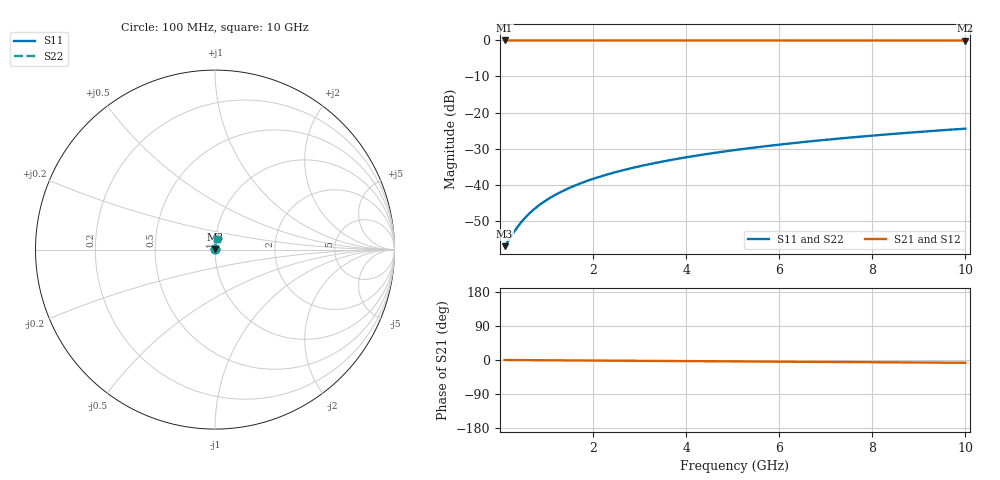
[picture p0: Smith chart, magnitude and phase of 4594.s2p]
# Hz S RI R 50.00
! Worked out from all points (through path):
!   100 points, 100 MHz to 10 GHz, reference 50 ohm
!   highest |S21| = -0.01 dB at 100 MHz (marker M1); lowest = 0.0 dB at 10 GHz (marker M2)
!   group delay of S21, straight-line fit = 2.03 ps
!   lowest |S11| = -57.1 dB at 100 MHz (marker M3), VSWR 1.00, Z = 50.1 + j0.0598 ohm
!   |S11| at or under -10 dB: start of sweep to end of sweep
!   |S22| runs from -57.1 to -24.5 dB; largest |S21 - S12| = 0
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1e8  0.00127 0.000596  0.9987 -0.00127  0.9987 -0.00127  0.00127 0.000596
3e8  0.00129 0.00179  0.9987 -0.00381  0.9987 -0.00381  0.00129 0.00179
4e8  0.0013 0.00238  0.9987 -0.00508  0.9987 -0.00508  0.0013 0.00238
5e8  0.00131 0.00298  0.9987 -0.00635  0.9987 -0.00635  0.00131 0.00298
6e8  0.00132 0.00358  0.9987 -0.00762  0.9987 -0.00762  0.00132 0.00358
7e8  0.00134 0.00417  0.9986 -0.00889  0.9986 -0.00889  0.00134 0.00417
8e8  0.00135 0.00477  0.9986 -0.0102  0.9986 -0.0102  0.00135 0.00477
1e9  0.00138 0.00596  0.9986 -0.0127  0.9986 -0.0127  0.00138 0.00596
1.2e9  0.00142 0.00715  0.9985 -0.0152  0.9985 -0.0152  0.00142 0.00715
1.5e9  0.00149 0.00894  0.9984 -0.0191  0.9984 -0.0191  0.00149 0.00894
1.8e9  0.00157 0.0107  0.9983 -0.0229  0.9983 -0.0229  0.00157 0.0107
2.1e9  0.00166 0.0125  0.9982 -0.0267  0.9982 -0.0267  0.00166 0.0125
2.5e9  0.00181 0.0149  0.998 -0.0318  0.998 -0.0318  0.00181 0.0149
2.9e9  0.00198 0.0173  0.9978 -0.0368  0.9978 -0.0368  0.00198 0.0173
3.4e9  0.00222 0.0202  0.9975 -0.0432  0.9975 -0.0432  0.00222 0.0202
4.2e9  0.00269 0.025  0.9969 -0.0534  0.9969 -0.0534  0.00269 0.025
5.1e9  0.00334 0.0303  0.996 -0.0648  0.996 -0.0648  0.00334 0.0303
5.9e9  0.00401 0.0351  0.9952 -0.075  0.9952 -0.075  0.00401 0.0351
6.7e9  0.00479 0.0398  0.9941 -0.0851  0.9941 -0.0851  0.00479 0.0398
7.5e9  0.00566 0.0445  0.993 -0.0953  0.993 -0.0953  0.00566 0.0445
8.4e9  0.00675 0.0498  0.9916 -0.1067  0.9916 -0.1067  0.00675 0.0498
1e10  0.00901 0.0591  0.9886 -0.1269  0.9886 -0.1269  0.00901 0.0591
